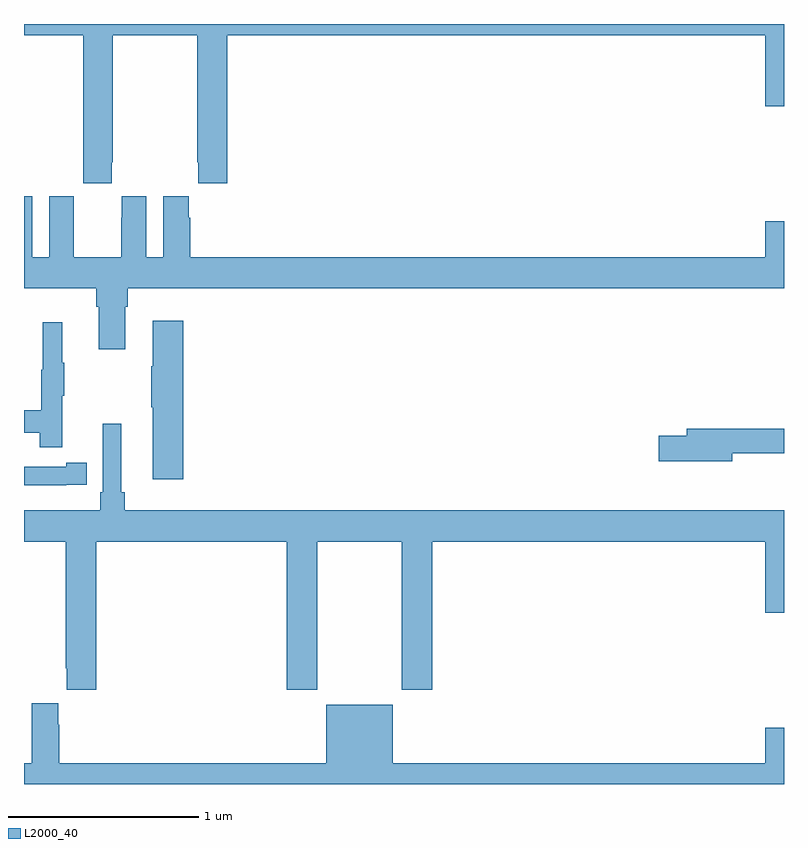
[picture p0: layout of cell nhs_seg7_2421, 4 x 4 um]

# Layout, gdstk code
import gdstk
lib = gdstk.Library(unit=1e-6, precision=1e-09)
def P(c, l, *ps):  # polygons
    for p in ps: c.add(gdstk.Polygon(p, *l))
L2000_40 = (2000, 40)

nhs_seg7_2421 = lib.new_cell('nhs_seg7_2421')
P(nhs_seg7_2421, L2000_40, [(269.463,1009.273),(269.466,1009.273),(269.466,1009.94),(269.911,1009.94),(269.911,1009.273),(269.917,1009.273),(269.917,1009.161),(270.071,1009.161),(270.071,1009.94),(272.9,1009.94),(272.9,1009.566),(273,1009.566),(273,1010),(269,1010),(269,1009.94),(269.311,1009.94),(269.311,1009.273),(269.313,1009.273),(269.313,1009.161),(269.463,1009.161)],
  [(269.533,1008.512),(269.546,1008.512),(269.546,1008.608),(273,1008.608),(273,1008.961),(272.9,1008.961),(272.9,1008.772),(269.876,1008.772),(269.876,1008.98),(269.866,1008.98),(269.866,1009.093),(269.732,1009.093),(269.732,1008.772),(269.644,1008.772),(269.644,1009.093),(269.514,1009.093),(269.514,1008.98),(269.513,1008.98),(269.513,1008.772),(269.263,1008.772),(269.263,1008.98),(269.262,1008.98),(269.262,1009.093),(269.132,1009.093),(269.132,1008.772),(269.044,1008.772),(269.044,1009.093),(269,1009.093),(269,1008.608),(269.381,1008.608),(269.381,1008.512),(269.393,1008.512),(269.393,1008.288),(269.533,1008.288)],
  [(269.837,1008.439),(269.678,1008.439),(269.678,1008.2),(269.671,1008.2),(269.671,1007.983),(269.678,1007.983),(269.678,1007.604),(269.837,1007.604)],
  [(269.201,1008.043),(269.212,1008.043),(269.212,1008.217),(269.201,1008.217),(269.201,1008.43),(269.098,1008.43),(269.098,1008.18),(269.091,1008.18),(269.091,1007.966),(269,1007.966),(269,1007.85),(269.083,1007.85),(269.083,1007.772),(269.201,1007.772)],
  [(269.381,1007.276),(270.383,1007.276),(270.383,1006.497),(270.543,1006.497),(270.543,1007.276),(270.988,1007.276),(270.988,1006.497),(271.148,1006.497),(271.148,1007.276),(272.9,1007.276),(272.9,1006.902),(273,1006.902),(273,1007.44),(269.531,1007.44),(269.531,1007.536),(269.512,1007.536),(269.512,1007.896),(269.415,1007.896),(269.415,1007.536),(269.402,1007.536),(269.402,1007.44),(269,1007.44),(269,1007.276),(269.221,1007.276),(269.221,1006.609),(269.225,1006.609),(269.225,1006.497),(269.381,1006.497)],
  [(272.728,1007.742),(273,1007.742),(273,1007.87),(272.489,1007.87),(272.489,1007.834),(272.34,1007.834),(272.34,1007.699),(272.728,1007.699)],
  [(269.222,1007.574),(269.33,1007.574),(269.33,1007.69),(269.222,1007.69),(269.222,1007.67),(269,1007.67),(269,1007.573),(269.222,1007.573)],
  [(273,1006.297),(272.9,1006.297),(272.9,1006.108),(270.94,1006.108),(270.94,1006.417),(270.59,1006.417),(270.59,1006.108),(269.186,1006.108),(269.186,1006.313),(269.179,1006.313),(269.179,1006.426),(269.042,1006.426),(269.042,1006.108),(269,1006.108),(269,1006),(273,1006)])

lib.write_gds('nhs_seg7_2421.gds')
